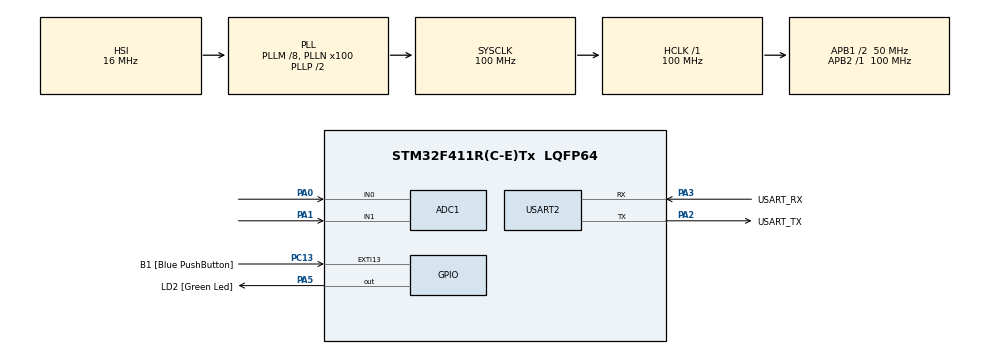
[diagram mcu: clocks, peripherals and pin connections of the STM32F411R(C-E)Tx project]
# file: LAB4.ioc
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ADC1.Channel-0\#ChannelRegularConversion=ADC_CHANNEL_0
ADC1.Channel-1\#ChannelRegularConversion=ADC_CHANNEL_1
ADC1.Channel-2\#ChannelRegularConversion=ADC_CHANNEL_TEMPSENSOR
ADC1.Channel-3\#ChannelRegularConversion=ADC_CHANNEL_VREFINT
ADC1.Channel-4\#ChannelInjectedConversion=ADC_CHANNEL_0
ADC1.Channel-5\#ChannelInjectedConversion=ADC_CHANNEL_1
ADC1.Channel-6\#ChannelInjectedConversion=ADC_CHANNEL_TEMPSENSOR
ADC1.Channel-7\#ChannelInjectedConversion=ADC_CHANNEL_VREFINT
ADC1.ContinuousConvMode=ENABLE
ADC1.DMAContinuousRequests=ENABLE
ADC1.ExternalTrigConv=ADC_SOFTWARE_START
ADC1.ExternalTrigConvEdge=ADC_EXTERNALTRIGCONVEDGE_NONE
ADC1.InjNumberOfConversion=4
ADC1.InjectedOffset-4\#ChannelInjectedConversion=0
ADC1.InjectedOffset-5\#ChannelInjectedConversion=0
ADC1.InjectedOffset-6\#ChannelInjectedConversion=0
ADC1.InjectedOffset-7\#ChannelInjectedConversion=0
ADC1.InjectedRank-4\#ChannelInjectedConversion=1
ADC1.InjectedRank-5\#ChannelInjectedConversion=2
ADC1.InjectedRank-6\#ChannelInjectedConversion=3
ADC1.InjectedRank-7\#ChannelInjectedConversion=4
ADC1.NbrOfConversion=4
ADC1.NbrOfConversionFlag=1
ADC1.Rank-0\#ChannelRegularConversion=1
ADC1.Rank-1\#ChannelRegularConversion=2
ADC1.Rank-2\#ChannelRegularConversion=3
ADC1.Rank-3\#ChannelRegularConversion=4
ADC1.SamplingTime-0\#ChannelRegularConversion=ADC_SAMPLETIME_144CYCLES
ADC1.SamplingTime-1\#ChannelRegularConversion=ADC_SAMPLETIME_144CYCLES
ADC1.SamplingTime-2\#ChannelRegularConversion=ADC_SAMPLETIME_144CYCLES
ADC1.SamplingTime-3\#ChannelRegularConversion=ADC_SAMPLETIME_144CYCLES
ADC1.SamplingTime-4\#ChannelInjectedConversion=ADC_SAMPLETIME_3CYCLES
ADC1.SamplingTime-5\#ChannelInjectedConversion=ADC_SAMPLETIME_3CYCLES
ADC1.SamplingTime-6\#ChannelInjectedConversion=ADC_SAMPLETIME_3CYCLES
ADC1.SamplingTime-7\#ChannelInjectedConversion=ADC_SAMPLETIME_3CYCLES
ADC1.master=1
Dma.ADC1.0.Direction=DMA_PERIPH_TO_MEMORY
Dma.ADC1.0.FIFOMode=DMA_FIFOMODE_DISABLE
Dma.ADC1.0.Instance=DMA2_Stream0
Dma.ADC1.0.MemDataAlignment=DMA_MDATAALIGN_WORD
Dma.ADC1.0.MemInc=DMA_MINC_ENABLE
Dma.ADC1.0.Mode=DMA_CIRCULAR
Dma.ADC1.0.PeriphDataAlignment=DMA_PDATAALIGN_WORD
Dma.ADC1.0.PeriphInc=DMA_PINC_DISABLE
Dma.ADC1.0.Priority=DMA_PRIORITY_LOW
Dma.Request0=ADC1
Mcu.Family=STM32F4
Mcu.Name=STM32F411R(C-E)Tx
Mcu.Package=LQFP64
NVIC.DMA2_Stream0_IRQn=true\:0\:0\:false\:false\:true\:false\:true
NVIC.EXTI15_10_IRQn=true\:0\:0\:false\:false\:true\:true\:true
NVIC.PriorityGroup=NVIC_PRIORITYGROUP_0
PA0-WKUP.Signal=ADCx_IN0
PA1.Signal=ADCx_IN1
PA13.GPIO_Label=TMS
PA13.Mode=Serial_Wire
PA13.Signal=SYS_JTMS-SWDIO
PA14.GPIO_Label=TCK
PA14.Mode=Serial_Wire
PA14.Signal=SYS_JTCK-SWCLK
PA2.GPIO_Label=USART_TX
PA2.Mode=Asynchronous
PA2.Signal=USART2_TX
PA3.GPIO_Label=USART_RX
PA3.Mode=Asynchronous
PA3.Signal=USART2_RX
PA5.GPIO_Label=LD2 [Green Led]
PA5.Signal=GPIO_Output
PB3.GPIO_Label=SWO
PB3.Signal=SYS_JTDO-SWO
PC13-ANTI_TAMP.GPIO_Label=B1 [Blue PushButton]
PC13-ANTI_TAMP.GPIO_ModeDefaultEXTI=GPIO_MODE_IT_RISING_FALLING
PC13-ANTI_TAMP.GPIO_PuPd=GPIO_PULLUP
PC13-ANTI_TAMP.Signal=GPXTI13
PC14-OSC32_IN.Mode=LSE-External-Oscillator
PC14-OSC32_IN.Signal=RCC_OSC32_IN
PC15-OSC32_OUT.Mode=LSE-External-Oscillator
PC15-OSC32_OUT.Signal=RCC_OSC32_OUT
PH0\ -\ OSC_IN.Mode=HSE-External-Clock-Source
PH0\ -\ OSC_IN.Signal=RCC_OSC_IN
PH1\ -\ OSC_OUT.Mode=HSE-External-Clock-Source
PH1\ -\ OSC_OUT.Signal=RCC_OSC_OUT
ProjectManager.HeapSize=0x200
ProjectManager.StackSize=0x400
ProjectManager.TargetToolchain=STM32CubeIDE
RCC.48MHZClocksFreq_Value=50000000
RCC.AHBFreq_Value=100000000
RCC.APB1CLKDivider=RCC_HCLK_DIV2
RCC.APB1Freq_Value=50000000
RCC.APB1TimFreq_Value=100000000
RCC.APB2Freq_Value=100000000
RCC.APB2TimFreq_Value=100000000
RCC.CortexFreq_Value=100000000
RCC.FLatency-AdvancedSettings=FLASH_LATENCY_3
RCC.HCLKFreq_Value=100000000
RCC.HSE_VALUE=8000000
RCC.HSI_VALUE=16000000
RCC.PLLM=8
RCC.PLLN=100
RCC.SYSCLKFreq_VALUE=100000000
RCC.SYSCLKSource=RCC_SYSCLKSOURCE_PLLCLK
RCC.VCOOutputFreq_Value=200000000
SH.ADCx_IN0.0=ADC1_IN0,IN0
SH.ADCx_IN1.0=ADC1_IN1,IN1
USART2.VirtualMode=VM_ASYNC
VP_ADC1_TempSens_Input.Mode=IN-TempSens
VP_ADC1_Vref_Input.Mode=IN-Vrefint
board=NUCLEO-F411RE

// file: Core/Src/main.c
/* USER CODE BEGIN Header */
/**
  ******************************************************************************
  * @file           : main.c
  * @brief          : Main program body
  ******************************************************************************
  * @attention
  *
  * <h2><center>&copy; Copyright (c) 2021 STMicroelectronics.
  * All rights reserved.</center></h2>
  *
  * This software component is licensed by ST under BSD 3-Clause license,
  * the "License"; You may not use this file except in compliance with the
  * License. You may obtain a copy of the License at:
  *                        opensource.org/licenses/BSD-3-Clause
  *
  ******************************************************************************
  */
/* USER CODE END Header */
#include "main.h"

ADC_HandleTypeDef hadc1;
DMA_HandleTypeDef hdma_adc1;

UART_HandleTypeDef huart2;

/* USER CODE BEGIN PV */
uint32_t ADCData[4] = {0};
uint32_t TimeDelay = 0;
uint32_t Time_Push = 0;
uint32_t Time_Pull = 0;
uint32_t Time_Update = 0;
uint64_t Timestamp = 0;
uint32_t Data0 = 0;
uint32_t Data1 = 0;
uint32_t on = 0;

/* USER CODE END PV */

void SystemClock_Config(void);
static void MX_GPIO_Init(void);
static void MX_DMA_Init(void);
static void MX_USART2_UART_Init(void);
static void MX_ADC1_Init(void);
/* USER CODE BEGIN PFP */

void HAL_TIM_PeriodElapsedCallback();
/* USER CODE END PFP */

int main(void)
{

  /* MCU Configuration--------------------------------------------------------*/

  /* Reset of all peripherals, Initializes the Flash interface and the Systick. */
  HAL_Init();

  /* Configure the system clock */
  SystemClock_Config();

  /* Initialize all configured peripherals */
  MX_GPIO_Init();
  MX_DMA_Init();
  MX_USART2_UART_Init();
  MX_ADC1_Init();
  /* USER CODE BEGIN 2 */
  HAL_ADC_Start_DMA(&hadc1, ADCData, 4);

  /* USER CODE END 2 */

  /* Infinite loop */
  while (1)
  {

    /* USER CODE BEGIN 3 */
	  if(HAL_GetTick()-Timestamp >= (1000 + ((22695477*Data0)+Data1)%10000))
	  	{
		  	on = 3;
		  	Timestamp = HAL_GetTick();
	  		HAL_GPIO_WritePin(GPIOA, GPIO_PIN_5, SET);
	  		Time_Push = HAL_GetTick();
	  	}

  }
  /* USER CODE END 3 */
}

void SystemClock_Config(void)
{
  RCC_OscInitTypeDef RCC_OscInitStruct = {0};
  RCC_ClkInitTypeDef RCC_ClkInitStruct = {0};

  /** Configure the main internal regulator output voltage
  */
  __HAL_RCC_PWR_CLK_ENABLE();
  __HAL_PWR_VOLTAGESCALING_CONFIG(PWR_REGULATOR_VOLTAGE_SCALE1);
  /** Initializes the RCC Oscillators according to the specified parameters
  * in the RCC_OscInitTypeDef structure.
  */
  RCC_OscInitStruct.OscillatorType = RCC_OSCILLATORTYPE_HSI;
  RCC_OscInitStruct.HSIState = RCC_HSI_ON;
  RCC_OscInitStruct.HSICalibrationValue = RCC_HSICALIBRATION_DEFAULT;
  RCC_OscInitStruct.PLL.PLLState = RCC_PLL_ON;
  RCC_OscInitStruct.PLL.PLLSource = RCC_PLLSOURCE_HSI;
  RCC_OscInitStruct.PLL.PLLM = 8;
  RCC_OscInitStruct.PLL.PLLN = 100;
  RCC_OscInitStruct.PLL.PLLP = RCC_PLLP_DIV2;
  RCC_OscInitStruct.PLL.PLLQ = 4;
  if (HAL_RCC_OscConfig(&RCC_OscInitStruct) != HAL_OK)
  {
    Error_Handler();
  }
  /** Initializes the CPU, AHB and APB buses clocks
  */
  RCC_ClkInitStruct.ClockType = RCC_CLOCKTYPE_HCLK|RCC_CLOCKTYPE_SYSCLK
                              |RCC_CLOCKTYPE_PCLK1|RCC_CLOCKTYPE_PCLK2;
  RCC_ClkInitStruct.SYSCLKSource = RCC_SYSCLKSOURCE_PLLCLK;
  RCC_ClkInitStruct.AHBCLKDivider = RCC_SYSCLK_DIV1;
  RCC_ClkInitStruct.APB1CLKDivider = RCC_HCLK_DIV2;
  RCC_ClkInitStruct.APB2CLKDivider = RCC_HCLK_DIV1;

  if (HAL_RCC_ClockConfig(&RCC_ClkInitStruct, FLASH_LATENCY_3) != HAL_OK)
  {
    Error_Handler();
  }
}

static void MX_ADC1_Init(void)
{

  ADC_ChannelConfTypeDef sConfig = {0};
  ADC_InjectionConfTypeDef sConfigInjected = {0};

  /** Configure the global features of the ADC (Clock, Resolution, Data Alignment and number of conversion)
  */
  hadc1.Instance = ADC1;
  hadc1.Init.ClockPrescaler = ADC_CLOCK_SYNC_PCLK_DIV4;
  hadc1.Init.Resolution = ADC_RESOLUTION_12B;
  hadc1.Init.ScanConvMode = ENABLE;
  hadc1.Init.ContinuousConvMode = ENABLE;
  hadc1.Init.DiscontinuousConvMode = DISABLE;
  hadc1.Init.ExternalTrigConvEdge = ADC_EXTERNALTRIGCONVEDGE_NONE;
  hadc1.Init.ExternalTrigConv = ADC_SOFTWARE_START;
  hadc1.Init.DataAlign = ADC_DATAALIGN_RIGHT;
  hadc1.Init.NbrOfConversion = 4;
  hadc1.Init.DMAContinuousRequests = ENABLE;
  hadc1.Init.EOCSelection = ADC_EOC_SINGLE_CONV;
  if (HAL_ADC_Init(&hadc1) != HAL_OK)
  {
    Error_Handler();
  }
  /** Configure for the selected ADC regular channel its corresponding rank in the sequencer and its sample time.
  */
  sConfig.Channel = ADC_CHANNEL_0;
  sConfig.Rank = 1;
  sConfig.SamplingTime = ADC_SAMPLETIME_144CYCLES;
  if (HAL_ADC_ConfigChannel(&hadc1, &sConfig) != HAL_OK)
  {
    Error_Handler();
  }
  /** Configure for the selected ADC regular channel its corresponding rank in the sequencer and its sample time.
  */
  sConfig.Channel = ADC_CHANNEL_1;
  sConfig.Rank = 2;
  if (HAL_ADC_ConfigChannel(&hadc1, &sConfig) != HAL_OK)
  {
    Error_Handler();
  }
  /** Configure for the selected ADC regular channel its corresponding rank in the sequencer and its sample time.
  */
  sConfig.Channel = ADC_CHANNEL_TEMPSENSOR;
  sConfig.Rank = 3;
  if (HAL_ADC_ConfigChannel(&hadc1, &sConfig) != HAL_OK)
  {
    Error_Handler();
  }
  /** Configure for the selected ADC regular channel its corresponding rank in the sequencer and its sample time.
  */
  sConfig.Channel = ADC_CHANNEL_VREFINT;
  sConfig.Rank = 4;
  if (HAL_ADC_ConfigChannel(&hadc1, &sConfig) != HAL_OK)
  {
    Error_Handler();
  }
  /** Configures for the selected ADC injected channel its corresponding rank in the sequencer and its sample time
  */
  sConfigInjected.InjectedChannel = ADC_CHANNEL_0;
  sConfigInjected.InjectedRank = 1;
  sConfigInjected.InjectedNbrOfConversion = 4;
  sConfigInjected.InjectedSamplingTime = ADC_SAMPLETIME_3CYCLES;
  sConfigInjected.ExternalTrigInjecConvEdge = ADC_EXTERNALTRIGINJECCONVEDGE_NONE;
  sConfigInjected.ExternalTrigInjecConv = ADC_INJECTED_SOFTWARE_START;
  sConfigInjected.AutoInjectedConv = DISABLE;
  sConfigInjected.InjectedDiscontinuousConvMode = DISABLE;
  sConfigInjected.InjectedOffset = 0;
  if (HAL_ADCEx_InjectedConfigChannel(&hadc1, &sConfigInjected) != HAL_OK)
  {
    Error_Handler();
  }
  /** Configures for the selected ADC injected channel its corresponding rank in the sequencer and its sample time
  */
  sConfigInjected.InjectedChannel = ADC_CHANNEL_1;
  sConfigInjected.InjectedRank = 2;
  if (HAL_ADCEx_InjectedConfigChannel(&hadc1, &sConfigInjected) != HAL_OK)
  {
    Error_Handler();
  }
  /** Configures for the selected ADC injected channel its corresponding rank in the sequencer and its sample time
  */
  sConfigInjected.InjectedChannel = ADC_CHANNEL_TEMPSENSOR;
  sConfigInjected.InjectedRank = 3;
  if (HAL_ADCEx_InjectedConfigChannel(&hadc1, &sConfigInjected) != HAL_OK)
  {
    Error_Handler();
  }
  /** Configures for the selected ADC injected channel its corresponding rank in the sequencer and its sample time
  */
  sConfigInjected.InjectedChannel = ADC_CHANNEL_VREFINT;
  sConfigInjected.InjectedRank = 4;
  if (HAL_ADCEx_InjectedConfigChannel(&hadc1, &sConfigInjected) != HAL_OK)
  {
    Error_Handler();
  }

}

static void MX_USART2_UART_Init(void)
{

  huart2.Instance = USART2;
  huart2.Init.BaudRate = 115200;
  huart2.Init.WordLength = UART_WORDLENGTH_8B;
  huart2.Init.StopBits = UART_STOPBITS_1;
  huart2.Init.Parity = UART_PARITY_NONE;
  huart2.Init.Mode = UART_MODE_TX_RX;
  huart2.Init.HwFlowCtl = UART_HWCONTROL_NONE;
  huart2.Init.OverSampling = UART_OVERSAMPLING_16;
  if (HAL_UART_Init(&huart2) != HAL_OK)
  {
    Error_Handler();
  }

}

static void MX_DMA_Init(void)
{

  /* DMA controller clock enable */
  __HAL_RCC_DMA2_CLK_ENABLE();

  /* DMA interrupt init */
  /* DMA2_Stream0_IRQn interrupt configuration */
  HAL_NVIC_SetPriority(DMA2_Stream0_IRQn, 0, 0);
  HAL_NVIC_EnableIRQ(DMA2_Stream0_IRQn);

}

static void MX_GPIO_Init(void)
{
  GPIO_InitTypeDef GPIO_InitStruct = {0};

  /* GPIO Ports Clock Enable */
  __HAL_RCC_GPIOC_CLK_ENABLE();
  __HAL_RCC_GPIOH_CLK_ENABLE();
  __HAL_RCC_GPIOA_CLK_ENABLE();
  __HAL_RCC_GPIOB_CLK_ENABLE();

  /*Configure GPIO pin Output Level */
  HAL_GPIO_WritePin(LD2_GPIO_Port, LD2_Pin, GPIO_PIN_RESET);

  /*Configure GPIO pin : B1_Pin */
  GPIO_InitStruct.Pin = B1_Pin;
  GPIO_InitStruct.Mode = GPIO_MODE_IT_RISING_FALLING;
  GPIO_InitStruct.Pull = GPIO_PULLUP;
  HAL_GPIO_Init(B1_GPIO_Port, &GPIO_InitStruct);

  /*Configure GPIO pin : LD2_Pin */
  GPIO_InitStruct.Pin = LD2_Pin;
  GPIO_InitStruct.Mode = GPIO_MODE_OUTPUT_PP;
  GPIO_InitStruct.Pull = GPIO_NOPULL;
  GPIO_InitStruct.Speed = GPIO_SPEED_FREQ_LOW;
  HAL_GPIO_Init(LD2_GPIO_Port, &GPIO_InitStruct);

  /* EXTI interrupt init*/
  HAL_NVIC_SetPriority(EXTI15_10_IRQn, 0, 0);
  HAL_NVIC_EnableIRQ(EXTI15_10_IRQn);

}

/* USER CODE BEGIN 4 */
void HAL_GPIO_EXTI_Callback(uint16_t GPIO_Pin)
{

	if(GPIO_Pin == GPIO_PIN_13)
	{
		if(HAL_GPIO_ReadPin(GPIOC, GPIO_PIN_13) == GPIO_PIN_RESET)
		{
			Timestamp = HAL_GetTick();
			Data0 = ADCData[0];
			Data1 = ADCData[1];
			on = 1;

		}
		else {
			Time_Pull = HAL_GetTick();
			Time_Update = Time_Pull - Time_Push;
	  		HAL_GPIO_WritePin(GPIOA, GPIO_PIN_5, RESET);
			}

	}
}

/* USER CODE END 4 */

void Error_Handler(void)
{
  __disable_irq();
  while (1)
  {
  }
}

/************************ (C) COPYRIGHT STMicroelectronics *****END OF FILE****/
